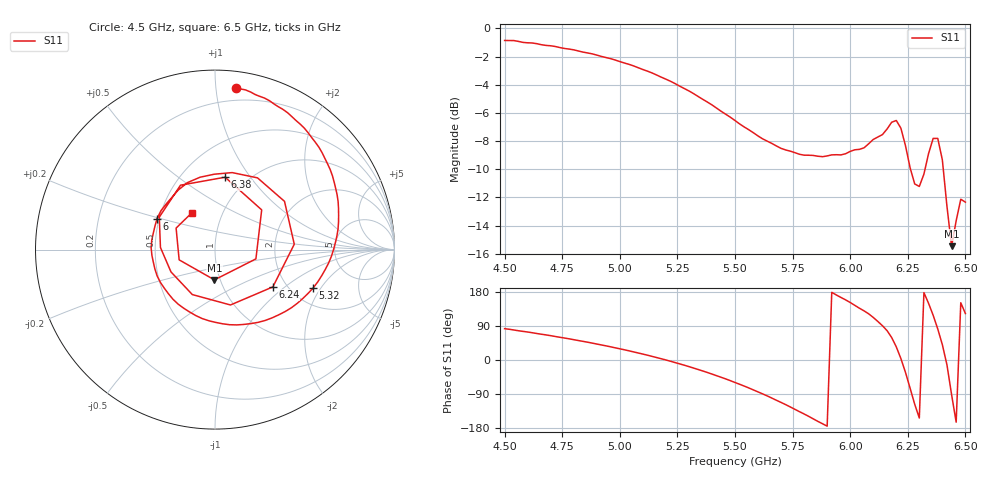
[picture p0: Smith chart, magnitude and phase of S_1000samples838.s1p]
! TOUCHSTONE file generated by CST MICROWAVE STUDIO
! Date and time: Sat Oct 29 13:42:23 2022
! Project name: L.cst
! Parameters = {Di=1.27; Epsilon_r=1.56; InnerDiameter=1.27; Length=2; Lf=10; Lg=60; OuterConductorThickness=0.2921; OuterDiameter=3.6; Wf=3; Wp=41.2; de=1.5; df=6.8; g=0.8; gx=3.45846; gy=2.7876; h=2.34; hf=1.524; px=13.2871; py=13.5952; w=9.7; wx=9.82864; wy=10.8076}
! Header version: 2018
! Port assignment regex: !\s*Touchstone port\s*([0-9]+)\s*=\s*(CST MWS port|CST DS port)\s*([0-9]+|Zmin|Zmax)\s*\(\"(.*)\"\)(\s*mode\s*([0-9]+))?.*
! Touchstone port assignment:
! Touchstone port 1 = CST MWS port 1 ("")
# GHz S DB R 50
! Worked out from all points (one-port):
!   101 points, 4.5 GHz to 6.5 GHz, reference 50 ohm
!   lowest |S11| = -15.5 dB at 6.44 GHz (marker M1), VSWR 1.41, Z = 46.9 - j16.3 ohm
!   |S11| at or under -10 dB: 6.262 GHz to 6.325 GHz (62.73 MHz wide, 0.997 % of centre); 6.404 GHz to end of sweep
!   S11 on the Smith chart (normalised r, x): 4.5 GHz: 0.11, +1.13; 5.32 GHz: 2.62, -1.70; 6 GHz: 0.49, +0.19; 6.24 GHz: 1.70, -0.83; 6.38 GHz: 0.79, +0.77; 6.5 GHz: 0.71, +0.31
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4.5  -0.85 82.6
4.76  -1.42 58.0
5  -2.35 29.5
5.14  -3.16 9.6
5.26  -4.09 -10.2
5.32  -4.62 -21.2
5.5  -6.54 -59.3
5.64  -8.00 -94.8
5.76  -8.82 -130.2
5.9  -9.05 -174.6
6  -8.73 151.8
6.1  -7.88 112.4
6.18  -6.66 59.3
6.2  -6.53 34.8
6.22  -7.08 3.9
6.24  -8.32 -32.8
6.26  -9.89 -74.4
6.28  -11.04 -116.8
6.3  -11.21 -153.1
6.34  -8.89 149.8
6.36  -7.81 118.2
6.38  -7.80 82.1
6.4  -9.33 40.4
6.42  -12.63 -12.8
6.44  -15.46 -91.1
6.46  -13.65 -164.0
6.48  -12.12 151.1
6.5  -12.33 122.6
